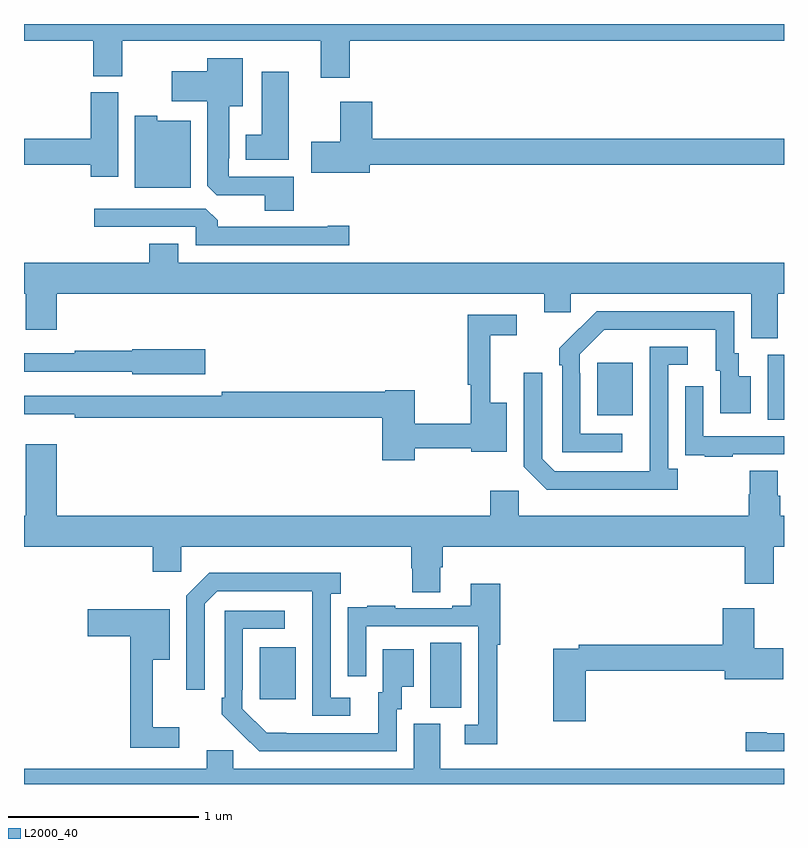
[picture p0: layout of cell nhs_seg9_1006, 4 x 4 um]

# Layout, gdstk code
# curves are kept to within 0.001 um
import gdstk
lib = gdstk.Library(unit=1e-6, precision=1e-09)
def R(c, l, rs):  # rectangles x0, y0, x1, y1
    for r in rs: c.add(gdstk.rectangle(r[:2], r[2:], *l))
def P(c, l, *ps):  # polygons
    for p in ps: c.add(gdstk.Polygon(p, *l))
L2000_40 = (2000, 40)

nhs_seg9_1006 = lib.new_cell('nhs_seg9_1006')
R(nhs_seg9_1006, L2000_40, [(167.138,1200.901,167.302,1201.244), (166.241,1200.945,166.429,1201.219), (168.914,1202.416,169,1202.76), (168.017,1202.441,168.205,1202.716)])
P(nhs_seg9_1006, L2000_40, [(166.715,1204.412),(169,1204.412),(169,1204.5),(165,1204.5),(165,1204.412),(165.365,1204.412),(165.365,1204.225),(165.517,1204.225),(165.517,1204.412),(166.562,1204.412),(166.562,1204.218),(166.715,1204.218)],
  [(166.421,1203.696),(166.077,1203.696),(166.077,1203.793),(166.081,1203.793),(166.081,1204.067),(166.15,1204.067),(166.15,1204.321),(165.965,1204.321),(165.965,1204.252),(165.777,1204.252),(165.777,1204.094),(165.965,1204.094),(165.965,1203.649),(166.014,1203.6),(166.268,1203.6),(166.268,1203.517),(166.421,1203.517)],
  [(166.393,1204.249),(166.25,1204.249),(166.25,1203.916),(166.166,1203.916),(166.166,1203.785),(166.393,1203.785)],
  [(165.496,1204.14),(165.35,1204.14),(165.35,1203.896),(165,1203.896),(165,1203.76),(165.35,1203.76),(165.35,1203.696),(165.496,1203.696)],
  [(166.819,1203.76),(169,1203.76),(169,1203.896),(166.832,1203.896),(166.832,1204.09),(166.664,1204.09),(166.664,1203.879),(166.512,1203.879),(166.512,1203.716),(166.819,1203.716)],
  [(165.877,1203.991),(165.702,1203.991),(165.702,1204.018),(165.584,1204.018),(165.584,1203.638),(165.877,1203.638)],
  [(166.711,1203.437),(166.598,1203.437),(166.598,1203.432),(166.019,1203.432),(166.019,1203.466),(165.957,1203.528),(165.369,1203.528),(165.369,1203.432),(165.903,1203.432),(165.903,1203.336),(166.711,1203.336)],
  [(165.811,1203.343),(165.659,1203.343),(165.659,1203.244),(165,1203.244),(165,1203.08),(165.008,1203.08),(165.008,1202.892),(165.172,1202.892),(165.172,1203.08),(167.738,1203.08),(167.738,1202.982),(167.877,1202.982),(167.877,1203.08),(168.827,1203.08),(168.827,1202.845),(168.967,1202.845),(168.967,1203.08),(169,1203.08),(169,1203.244),(165.811,1203.244)],
  [(168.148,1202.343),(167.928,1202.343),(167.928,1202.663),(167.925,1202.663),(167.925,1202.763),(168.054,1202.892),(168.641,1202.892),(168.641,1202.676),(168.665,1202.676),(168.665,1202.451),(168.826,1202.451),(168.826,1202.647),(168.763,1202.647),(168.763,1202.766),(168.738,1202.766),(168.738,1202.988),(168.014,1202.988),(167.817,1202.793),(167.817,1202.705),(167.832,1202.705),(167.832,1202.247),(168.148,1202.247)],
  [(167.056,1202.268),(167.354,1202.268),(167.354,1202.249),(167.542,1202.249),(167.542,1202.506),(167.453,1202.506),(167.453,1202.862),(167.593,1202.862),(167.593,1202.97),(167.335,1202.97),(167.335,1202.602),(167.35,1202.602),(167.35,1202.396),(167.056,1202.396),(167.056,1202.572),(166.902,1202.572),(166.902,1202.564),(166.042,1202.564),(166.042,1202.544),(165,1202.544),(165,1202.447),(165.268,1202.447),(165.268,1202.428),(166.886,1202.428),(166.886,1202.205),(167.056,1202.205)],
  [(168.442,1202.158),(168.39,1202.158),(168.39,1202.706),(168.493,1202.706),(168.493,1202.802),(168.294,1202.802),(168.293,1202.145),(167.793,1202.145),(167.727,1202.211),(167.727,1202.665),(167.631,1202.665),(167.631,1202.169),(167.752,1202.048),(168.442,1202.048)],
  [(165.955,1202.787),(165.57,1202.787),(165.57,1202.779),(165.268,1202.779),(165.268,1202.766),(165,1202.766),(165,1202.67),(165.57,1202.67),(165.57,1202.657),(165.955,1202.657)],
  [(168.731,1202.235),(169,1202.235),(169,1202.331),(168.576,1202.331),(168.576,1202.593),(168.48,1202.593),(168.48,1202.338),(168.481,1202.338),(168.481,1202.229),(168.583,1202.229),(168.583,1202.223),(168.731,1202.223)],
  [(167.191,1201.642),(167.204,1201.642),(167.204,1201.748),(168.794,1201.748),(168.794,1201.554),(168.946,1201.554),(168.946,1201.748),(169,1201.748),(169,1201.912),(168.98,1201.912),(168.98,1202.018),(168.967,1202.018),(168.967,1202.15),(168.82,1202.15),(168.82,1202.025),(168.815,1202.025),(168.815,1201.912),(167.604,1201.912),(167.604,1202.044),(167.453,1202.044),(167.453,1201.912),(165.172,1201.912),(165.172,1202.287),(165.008,1202.287),(165.008,1201.912),(165,1201.912),(165,1201.748),(165.677,1201.748),(165.677,1201.617),(165.828,1201.617),(165.828,1201.748),(167.039,1201.748),(167.039,1201.635),(167.044,1201.635),(167.044,1201.51),(167.191,1201.51)],
  [(166.717,1200.954),(166.614,1200.954),(166.614,1201.502),(166.666,1201.502),(166.666,1201.612),(165.976,1201.612),(165.855,1201.491),(165.855,1200.996),(165.951,1200.996),(165.951,1201.449),(166.017,1201.515),(166.517,1201.515),(166.518,1200.858),(166.717,1200.858)],
  [(167.492,1201.232),(167.507,1201.232),(167.507,1201.555),(167.351,1201.555),(167.351,1201.438),(167.255,1201.438),(167.255,1201.425),(166.955,1201.425),(166.955,1201.438),(166.807,1201.438),(166.807,1201.431),(166.705,1201.431),(166.705,1201.322),(166.704,1201.322),(166.704,1201.068),(166.8,1201.068),(166.8,1201.329),(167.391,1201.329),(167.391,1200.813),(167.319,1200.813),(167.319,1200.708),(167.492,1200.708)],
  [(167.957,1201.096),(168.689,1201.096),(168.689,1201.052),(168.997,1201.052),(168.997,1201.215),(168.844,1201.215),(168.844,1201.426),(168.677,1201.426),(168.677,1201.232),(167.92,1201.232),(167.92,1201.212),(167.786,1201.212),(167.786,1200.831),(167.957,1200.831)],
  [(165.817,1200.799),(165.677,1200.799),(165.677,1201.154),(165.766,1201.154),(165.766,1201.419),(165.336,1201.419),(165.336,1201.277),(165.559,1201.277),(165.559,1200.69),(165.817,1200.69)],
  [(166.962,1200.894),(166.987,1200.894),(166.987,1201.013),(167.05,1201.013),(167.05,1201.21),(166.889,1201.21),(166.889,1200.984),(166.865,1200.984),(166.865,1200.768),(166.278,1200.769),(166.149,1200.897),(166.149,1200.997),(166.152,1200.997),(166.152,1201.317),(166.372,1201.317),(166.372,1201.413),(166.056,1201.413),(166.056,1200.955),(166.041,1200.955),(166.041,1200.867),(166.238,1200.672),(166.962,1200.672)],
  [(169,1200.58),(167.191,1200.58),(167.191,1200.816),(167.051,1200.816),(167.051,1200.58),(166.101,1200.58),(166.101,1200.678),(165.962,1200.678),(165.962,1200.58),(165,1200.58),(165,1200.5),(169,1200.5)],
  [(169,1200.768),(168.91,1200.768),(168.91,1200.773),(168.798,1200.773),(168.798,1200.672),(169,1200.672)])

lib.write_gds('nhs_seg9_1006.gds')
